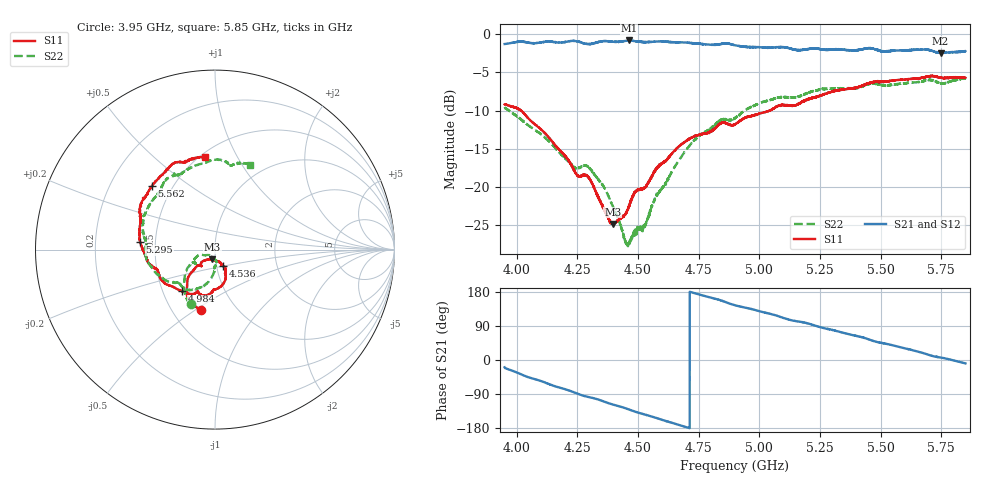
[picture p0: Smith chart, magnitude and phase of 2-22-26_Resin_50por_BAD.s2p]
# GHZ S RI R 50.000000000000
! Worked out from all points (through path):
!   4501 points, 3.95 GHz to 5.85 GHz, reference 50 ohm
!   highest |S21| = -0.81 dB at 4.463 GHz (marker M1); lowest = -2.5 dB at 5.747 GHz (marker M2)
!   lowest |S11| = -24.9 dB at 4.396 GHz (marker M3), VSWR 1.12, Z = 48.2 - j5.3 ohm
!   |S11| at or under -10 dB: 4.017 GHz to 5.044 GHz (1.027 GHz wide, 22.7 % of centre)
!   |S22| runs from -27.8 to -5.8 dB; largest |S21 - S12| = 0.047
!   S11 on the Smith chart (normalised r, x): 3.95 GHz: 0.69, -0.53; 4.536 GHz: 1.08, -0.20; 4.984 GHz: 0.63, -0.32; 5.295 GHz: 0.41, +0.04; 5.562 GHz: 0.38, +0.36; 5.85 GHz: 0.53, +0.74
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3.95  -0.0777 -0.3385  0.8148 -0.2855  0.7912 -0.3256  -0.1359 -0.3042
4.0146  -0.1444 -0.284  0.7166 -0.5368  0.7193 -0.5325  -0.1723 -0.2202
4.129444  -0.1488 -0.1524  0.4125 -0.796  0.4074 -0.7915  -0.1603 -0.1199
4.267089  -0.0739 -0.0912  -0.044 -0.8797  -0.0467 -0.8876  -0.1099 -0.0794
4.2996  -0.0787 -0.0805  -0.1237 -0.8543  -0.1297 -0.8545  -0.1182 -0.0597
4.396289  -0.0153 -0.0548  -0.4142 -0.7922  -0.4132 -0.7933  -0.0683 -0.0297
4.463  0.0252 -0.0714  -0.5923 -0.6923  -0.5939 -0.6896  -0.0213 -0.036
4.536044  0.0451 -0.0905  -0.7339 -0.5048  -0.7277 -0.5057  0.00337 -0.0593
4.583756  0.0586 -0.1218  -0.8117 -0.3844  -0.8107 -0.3852  0.0007 -0.0909
4.716756  0.0309 -0.2055  -0.876 0.0102  -0.8765 0.00944  -0.0425 -0.1849
4.848489  -0.065 -0.2544  -0.7924 0.3514  -0.7923 0.3491  -0.1715 -0.2188
4.9  -0.1006 -0.2356  -0.6897 0.4946  -0.6957 0.4962  -0.2141 -0.1852
4.984444  -0.1842 -0.2316  -0.5482 0.6141  -0.5437 0.6134  -0.3105 -0.1452
5.106889  -0.3112 -0.1437  -0.2747 0.7732  -0.2771 0.7796  -0.3885 -0.00608
5.217089  -0.3759 -0.0596  -0.0485 0.8034  -0.0541 0.8  -0.4015 0.1234
5.294778  -0.4172 0.0423  0.135 0.7818  0.1411 0.7852  -0.3776 0.2272
5.441711  -0.4195 0.2199  0.4483 0.6751  0.4442 0.6761  -0.2911 0.3656
5.533756  -0.3698 0.3254  0.5836 0.5136  0.5862 0.5091  -0.1843 0.4265
5.561622  -0.3521 0.3559  0.6246 0.4722  0.6252 0.4687  -0.163 0.4416
5.684911  -0.2593 0.4562  0.7613 0.2247  0.7626 0.2217  -0.0195 0.4952
5.7474  -0.1782 0.4876  0.7466 0.0862  0.7549 0.0826  0.0846 0.4691
5.85  -0.0584 0.5152  0.7653 -0.1201  0.7643 -0.1204  0.1967 0.4719
